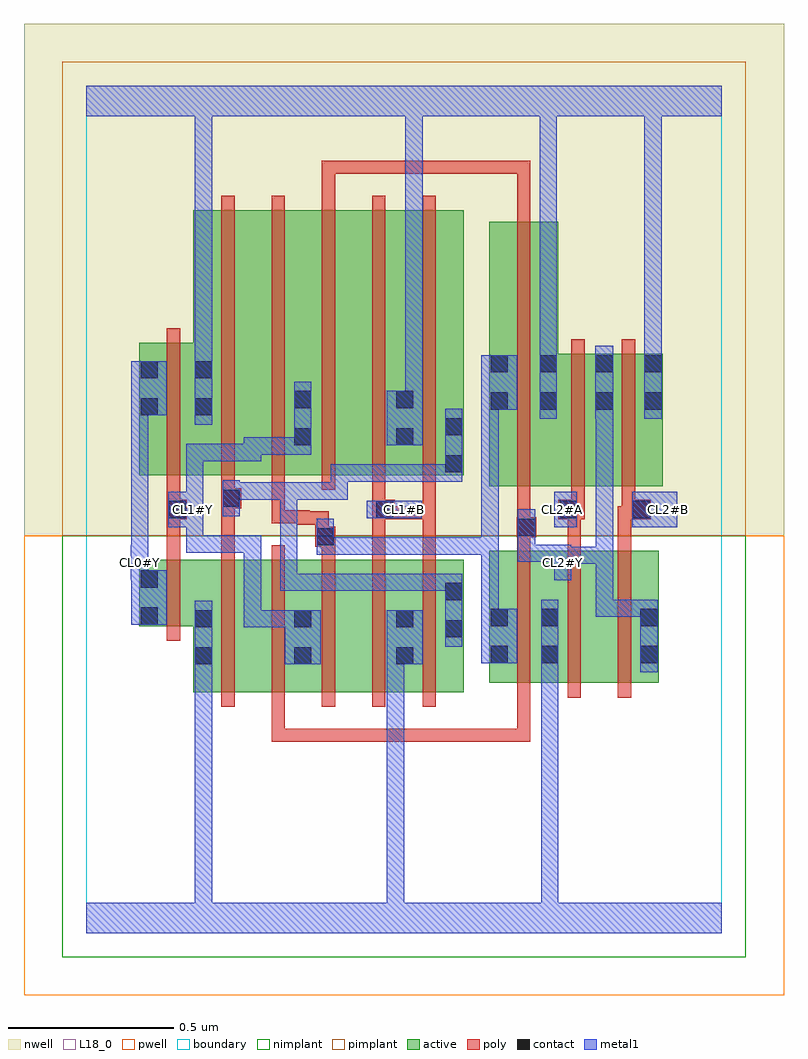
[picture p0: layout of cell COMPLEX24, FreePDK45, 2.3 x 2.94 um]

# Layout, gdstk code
import gdstk
lib = gdstk.Library(unit=1e-6, precision=1e-09)
def R(c, l, rs):  # rectangles x0, y0, x1, y1
    for r in rs: c.add(gdstk.rectangle(r[:2], r[2:], *l))
def A(c, l, x, y, w, h, nx, ny, dx, dy):  # array of equal rectangles
    R(c, l, [(x+i*dx, y+j*dy, x+i*dx+w, y+j*dy+h) for i in range(nx) for j in range(ny)])
active = (1, 0)
pwell = (2, 0)
nwell = (3, 0)
nimplant = (4, 0)
pimplant = (5, 0)
poly = (9, 0)
contact = (10, 0)
metal1 = (11, 0)
L18_0 = (18, 0)
boundary = (235, 0)

complex24 = lib.new_cell('COMPLEX24')
R(complex24, active, [(0.324,0.728,0.504,1.128), (0.504,0.728,0.684,1.128), (0.624,0.728,0.808,1.128), (0.808,0.728,0.992,1.128), (0.932,0.728,1.14,1.128), (0.624,0.756,0.684,0.98), (0.932,0.756,0.992,0.98), (1.08,0.756,1.14,1.128), (1.218,0.756,1.278,1.156), (1.218,0.756,1.43,1.156), (1.37,0.756,1.43,1.156), (1.37,0.756,1.55,1.156), (1.55,0.756,1.73,1.156), (1.67,0.756,1.73,1.156), (0.324,0.808,0.384,0.98), (0.16,0.928,0.384,1.128), (0.16,0.928,0.22,1.128), (1.218,1.35,1.426,2.15), (1.218,1.35,1.278,2.15), (1.366,1.35,1.594,1.75), (1.534,1.35,1.742,1.75), (1.682,1.35,1.742,1.75), (0.16,1.384,0.22,1.784), (0.16,1.384,0.384,1.784), (0.324,1.384,0.504,2.184), (0.504,1.384,0.684,2.184), (0.624,1.384,0.808,2.184), (0.808,1.384,0.992,2.184), (0.932,1.384,1.14,2.184), (1.08,1.384,1.14,2.044), (0.324,1.388,0.384,2.184), (0.624,1.47,0.684,2.044), (0.932,1.47,0.992,2.044), (1.366,1.578,1.426,1.75), (1.534,1.578,1.594,1.75)])
R(complex24, pwell, [(-0.188,-0.188,2.108,1.2)])
R(complex24, nwell, [(-0.188,1.2,2.108,2.748)])
R(complex24, nimplant, [(-0.072,-0.072,1.992,1.2)])
R(complex24, pimplant, [(-0.072,1.2,1.992,2.632)])
A(complex24, poly, 0.408, 0.684, 0.04, 0.488, 5, 1, 0.152, 0)
A(complex24, poly, 1.302, 0.712, 0.04, 0.488, 3, 1, 0.152, 0)
A(complex24, poly, 0.408, 1.34, 0.04, 0.888, 5, 1, 0.152, 0)
R(complex24, poly, [(0.56,0.578,0.6,0.618), (0.56,0.578,0.6,0.618), (0.56,0.578,0.6,0.618), (0.56,0.578,0.6,0.724), (0.56,0.578,0.798,0.618), (0.758,0.578,0.798,0.618), (0.758,0.578,0.798,0.618), (0.758,0.578,0.798,0.618), (0.758,0.578,0.932,0.618), (0.892,0.578,0.932,0.618), (0.892,0.578,0.932,0.618), (0.892,0.578,0.932,0.618), (0.892,0.578,1.038,0.618), (0.998,0.578,1.038,0.618), (0.998,0.578,1.038,0.618), (0.998,0.578,1.038,0.618), (0.998,0.578,1.342,0.618), (1.302,0.578,1.342,0.618), (1.302,0.578,1.342,0.618), (1.302,0.578,1.342,0.618), (1.302,0.578,1.342,0.752), (0.244,0.884,0.284,1.172), (0.244,1.132,0.284,1.29), (0.408,1.132,0.448,1.324), (0.712,1.132,0.752,1.208), (0.864,1.132,0.904,1.29), (1.016,1.132,1.056,1.29), (1.302,1.16,1.342,1.236), (1.454,1.16,1.494,1.29), (1.606,1.16,1.646,1.29), (0.692,1.168,0.752,1.228), (0.692,1.188,0.732,1.274), (1.3,1.196,1.36,1.256), (1.302,1.216,1.342,1.256), (1.302,1.216,1.342,1.256), (1.302,1.216,1.342,1.346), (0.636,1.234,0.732,1.274), (0.636,1.234,0.676,1.278), (0.692,1.234,0.732,1.274), (0.56,1.238,0.6,1.278), (0.56,1.238,0.676,1.278), (0.56,1.238,0.6,1.38), (0.244,1.25,0.304,1.31), (0.864,1.25,0.904,1.29), (0.864,1.25,0.904,1.29), (0.864,1.25,0.904,1.29), (0.864,1.25,0.904,1.29), (0.864,1.25,1.056,1.29), (0.864,1.25,0.932,1.31), (1.016,1.25,1.056,1.29), (1.016,1.25,1.056,1.29), (1.016,1.25,1.056,1.29), (1.016,1.25,1.056,1.38), (1.426,1.25,1.506,1.31), (1.454,1.25,1.494,1.29), (1.454,1.25,1.494,1.29), (1.606,1.25,1.658,1.29), (1.618,1.25,1.658,1.29), (1.618,1.25,1.706,1.31), (0.244,1.27,0.284,1.31), (0.244,1.27,0.284,1.31), (0.244,1.27,0.284,1.38), (0.864,1.27,0.904,1.38), (1.466,1.27,1.506,1.346), (1.618,1.27,1.658,1.346), (0.408,1.284,0.448,1.324), (0.408,1.284,0.448,1.324), (0.408,1.284,0.468,1.344), (0.408,1.304,0.448,1.38), (1.302,1.306,1.342,2.194), (1.466,1.306,1.506,1.794), (1.618,1.306,1.658,1.794), (0.244,1.34,0.284,1.828), (1.302,2.154,1.342,2.334), (0.712,2.188,0.752,2.334), (0.712,2.294,0.752,2.334), (0.712,2.294,0.782,2.334), (0.742,2.294,0.782,2.334), (0.742,2.294,0.932,2.334), (0.892,2.294,0.932,2.334), (0.892,2.294,0.932,2.334), (0.892,2.294,0.932,2.334), (0.892,2.294,1.038,2.334), (0.998,2.294,1.038,2.334), (0.998,2.294,1.038,2.334), (0.998,2.294,1.038,2.334), (0.998,2.294,1.342,2.334), (1.302,2.294,1.342,2.334), (1.302,2.294,1.342,2.334), (1.302,2.294,1.342,2.334)])
R(complex24, contact, [(0.328,0.812,0.38,0.864), (0.628,0.812,0.68,0.864), (0.936,0.812,0.988,0.864), (1.222,0.816,1.274,0.868), (1.374,0.816,1.426,0.868), (1.674,0.816,1.726,0.868), (1.084,0.894,1.136,0.946), (0.328,0.924,0.38,0.976), (0.628,0.924,0.68,0.976), (0.936,0.924,0.988,0.976), (1.222,0.928,1.274,0.98), (1.374,0.928,1.426,0.98), (1.674,0.928,1.726,0.98), (0.164,0.932,0.216,0.984), (1.084,1.006,1.136,1.058), (0.164,1.044,0.216,1.096), (0.696,1.172,0.748,1.224), (1.304,1.2,1.356,1.252), (0.248,1.254,0.3,1.306), (0.876,1.254,0.928,1.306), (1.43,1.254,1.482,1.306), (1.65,1.254,1.702,1.306), (0.412,1.288,0.464,1.34), (1.084,1.392,1.136,1.444), (0.628,1.474,0.68,1.526), (0.936,1.474,0.988,1.526), (1.084,1.504,1.136,1.556), (0.164,1.564,0.216,1.616), (0.328,1.564,0.38,1.616), (1.222,1.582,1.274,1.634), (1.37,1.582,1.422,1.634), (1.538,1.582,1.59,1.634), (1.686,1.582,1.738,1.634), (0.628,1.586,0.68,1.638), (0.936,1.586,0.988,1.638), (0.164,1.676,0.216,1.728), (0.328,1.676,0.38,1.728), (1.222,1.694,1.274,1.746), (1.37,1.694,1.422,1.746), (1.538,1.694,1.59,1.746), (1.686,1.694,1.738,1.746)])
R(complex24, metal1, [(0,0,1.92,0.092), (0.328,0.04,0.38,0.092), (0.328,0.04,0.38,0.092), (0.328,0.04,0.38,0.092), (0.328,0.04,0.38,0.092), (0.328,0.04,0.38,0.092), (0.328,0.04,0.38,0.092), (0.328,0.04,0.38,0.092), (0.328,0.04,0.38,0.092), (0.328,0.04,0.38,0.092), (0.328,0.04,0.38,0.092), (0.328,0.04,0.38,0.092), (0.328,0.04,0.38,0.092), (0.328,0.04,0.38,0.836), (0.908,0.04,0.96,0.092), (0.908,0.04,0.96,0.092), (0.908,0.04,0.96,0.092), (0.908,0.04,0.96,0.092), (0.908,0.04,0.96,0.092), (0.908,0.04,0.96,0.092), (0.908,0.04,0.96,0.092), (0.908,0.04,0.96,0.092), (0.908,0.04,0.96,0.092), (0.908,0.04,0.96,0.092), (0.908,0.04,0.96,0.092), (0.908,0.04,0.96,0.092), (0.908,0.04,0.96,0.864), (1.374,0.04,1.426,0.092), (1.374,0.04,1.426,0.092), (1.374,0.04,1.426,0.092), (1.374,0.04,1.426,0.092), (1.374,0.04,1.426,0.092), (1.374,0.04,1.426,0.092), (1.374,0.04,1.426,0.092), (1.374,0.04,1.426,0.092), (1.374,0.04,1.426,0.092), (1.374,0.04,1.426,0.092), (1.374,0.04,1.426,0.092), (1.374,0.04,1.426,0.092), (1.374,0.04,1.426,0.84), (0.328,0.784,0.38,1.004), (1.374,0.788,1.426,1.008), (1.674,0.788,1.726,1.008), (0.6,0.812,0.708,0.976), (0.908,0.812,1.016,0.976), (1.194,0.816,1.302,0.98), (1.084,0.866,1.136,1.086), (0.476,0.924,0.528,0.976), (0.476,0.924,0.528,0.976), (0.476,0.924,0.528,0.976), (0.476,0.924,0.638,0.976), (0.476,0.924,0.528,1.202), (0.586,0.924,0.638,0.976), (0.586,0.924,0.652,0.976), (1.194,0.928,1.246,1.196), (0.136,0.932,0.244,1.096), (1.54,0.956,1.592,1.008), (1.54,0.956,1.592,1.008), (1.54,0.956,1.592,1.008), (1.54,0.956,1.726,1.008), (1.54,0.956,1.592,1.168), (0.586,1.034,0.638,1.086), (0.586,1.034,0.638,1.086), (0.586,1.034,0.638,1.086), (0.586,1.034,0.748,1.086), (0.586,1.034,0.638,1.362), (0.696,1.034,0.748,1.086), (0.696,1.034,0.748,1.086), (0.696,1.034,0.748,1.086), (0.696,1.034,1.026,1.086), (0.974,1.034,1.026,1.086), (0.974,1.034,1.026,1.086), (0.974,1.034,1.026,1.086), (0.974,1.034,1.136,1.086), (1.084,1.034,1.136,1.086), (1.084,1.034,1.136,1.086), (0.136,1.044,0.188,1.118), (0.134,1.066,0.188,1.174), (1.414,1.066,1.466,1.174), (1.414,1.116,1.466,1.168), (1.414,1.116,1.466,1.168), (1.414,1.116,1.592,1.168), (1.54,1.116,1.592,1.168), (1.54,1.116,1.592,1.168), (1.54,1.116,1.592,1.168), (1.54,1.116,1.592,1.606), (0.136,1.122,0.188,1.174), (0.136,1.122,0.188,1.174), (0.136,1.122,0.188,1.616), (1.304,1.122,1.466,1.174), (1.304,1.122,1.356,1.28), (0.696,1.144,0.748,1.196), (0.696,1.144,0.748,1.196), (0.696,1.144,0.748,1.252), (0.696,1.144,0.9,1.196), (0.848,1.144,0.9,1.196), (0.848,1.144,0.9,1.196), (0.848,1.144,0.9,1.196), (0.848,1.144,1.136,1.196), (1.084,1.144,1.136,1.196), (1.084,1.144,1.246,1.196), (1.194,1.144,1.246,1.196), (1.194,1.144,1.246,1.196), (1.194,1.144,1.246,1.196), (1.194,1.144,1.246,1.634), (0.302,1.15,0.528,1.202), (0.302,1.15,0.354,1.278), (0.476,1.15,0.528,1.202), (0.476,1.15,0.528,1.202), (0.476,1.15,0.528,1.202), (0.248,1.226,0.346,1.334), (0.294,1.226,0.354,1.278), (0.302,1.226,0.354,1.278), (0.302,1.226,0.354,1.278), (0.302,1.226,0.354,1.478), (1.414,1.226,1.482,1.334), (1.65,1.226,1.786,1.334), (0.848,1.254,1.014,1.306), (0.412,1.26,0.464,1.368), (0.412,1.31,0.464,1.362), (0.412,1.31,0.464,1.362), (0.412,1.31,0.638,1.362), (0.586,1.31,0.638,1.362), (0.586,1.31,0.638,1.362), (0.586,1.31,0.638,1.362), (0.586,1.31,0.79,1.362), (0.738,1.31,0.79,1.362), (0.738,1.31,0.79,1.362), (0.738,1.31,0.79,1.362), (0.738,1.31,0.79,1.416), (0.738,1.364,0.79,1.416), (0.738,1.364,0.9,1.416), (0.848,1.364,0.9,1.416), (0.848,1.364,0.9,1.416), (0.848,1.364,0.9,1.416), (0.848,1.364,1.136,1.416), (1.084,1.364,1.136,1.416), (1.084,1.364,1.136,1.416), (1.084,1.364,1.136,1.584), (0.302,1.426,0.354,1.478), (0.302,1.426,0.528,1.478), (0.476,1.426,0.528,1.498), (0.476,1.446,0.528,1.498), (0.476,1.446,0.528,1.498), (0.476,1.446,0.638,1.498), (0.586,1.446,0.638,1.498), (0.586,1.446,0.68,1.498), (0.628,1.446,0.68,1.666), (0.908,1.474,1.016,1.638), (0.328,1.536,0.38,1.756), (1.37,1.554,1.422,1.774), (1.538,1.554,1.592,1.774), (1.686,1.554,1.738,1.774), (0.136,1.564,0.244,1.728), (1.194,1.582,1.246,1.634), (1.194,1.582,1.246,1.634), (1.194,1.582,1.302,1.746), (0.964,1.586,1.016,1.638), (0.964,1.586,1.016,1.638), (0.964,1.586,1.016,2.52), (0.328,1.704,0.38,2.52), (1.37,1.722,1.422,2.52), (1.686,1.722,1.738,2.52), (0,2.468,1.92,2.56), (0.328,2.468,0.38,2.52), (0.328,2.468,0.38,2.52), (0.328,2.468,0.38,2.52), (0.328,2.468,0.38,2.52), (0.328,2.468,0.38,2.52), (0.328,2.468,0.38,2.52), (0.328,2.468,0.38,2.52), (0.328,2.468,0.38,2.52), (0.964,2.468,1.016,2.52), (0.964,2.468,1.016,2.52), (0.964,2.468,1.016,2.52), (0.964,2.468,1.016,2.52), (0.964,2.468,1.016,2.52), (0.964,2.468,1.016,2.52), (1.37,2.468,1.422,2.52), (1.37,2.468,1.422,2.52), (1.37,2.468,1.422,2.52), (1.37,2.468,1.422,2.52), (1.37,2.468,1.422,2.52), (1.37,2.468,1.422,2.52), (1.37,2.468,1.422,2.52), (1.37,2.468,1.422,2.52), (1.686,2.468,1.738,2.52), (1.686,2.468,1.738,2.52), (1.686,2.468,1.738,2.52), (1.686,2.468,1.738,2.52), (1.686,2.468,1.738,2.52), (1.686,2.468,1.738,2.52), (1.686,2.468,1.738,2.52), (1.686,2.468,1.738,2.52), (1.686,2.468,1.738,2.52), (1.686,2.468,1.738,2.52), (1.686,2.468,1.738,2.52), (1.686,2.468,1.738,2.52), (1.686,2.468,1.738,2.52), (1.686,2.468,1.738,2.52), (1.686,2.468,1.738,2.52), (1.686,2.468,1.738,2.52)])
R(complex24, L18_0, [(0,0,1.92,0.092), (0.328,0.04,0.38,0.092), (0.328,0.04,0.38,0.092), (0.328,0.04,0.38,0.092), (0.328,0.04,0.38,0.092), (0.328,0.04,0.38,0.092), (0.328,0.04,0.38,0.092), (0.328,0.04,0.38,0.092), (0.328,0.04,0.38,0.092), (0.328,0.04,0.38,0.092), (0.328,0.04,0.38,0.092), (0.328,0.04,0.38,0.092), (0.328,0.04,0.38,0.092), (0.328,0.04,0.38,0.836), (0.908,0.04,0.96,0.092), (0.908,0.04,0.96,0.092), (0.908,0.04,0.96,0.092), (0.908,0.04,0.96,0.092), (0.908,0.04,0.96,0.092), (0.908,0.04,0.96,0.092), (0.908,0.04,0.96,0.092), (0.908,0.04,0.96,0.092), (0.908,0.04,0.96,0.092), (0.908,0.04,0.96,0.092), (0.908,0.04,0.96,0.092), (0.908,0.04,0.96,0.092), (0.908,0.04,0.96,0.864), (1.374,0.04,1.426,0.092), (1.374,0.04,1.426,0.092), (1.374,0.04,1.426,0.092), (1.374,0.04,1.426,0.092), (1.374,0.04,1.426,0.092), (1.374,0.04,1.426,0.092), (1.374,0.04,1.426,0.092), (1.374,0.04,1.426,0.092), (1.374,0.04,1.426,0.092), (1.374,0.04,1.426,0.092), (1.374,0.04,1.426,0.092), (1.374,0.04,1.426,0.092), (1.374,0.04,1.426,0.84), (0.328,0.784,0.38,1.004), (1.374,0.788,1.426,1.008), (1.674,0.788,1.726,1.008), (0.6,0.812,0.708,0.976), (0.908,0.812,1.016,0.976), (0.476,0.924,0.528,0.976), (0.476,0.924,0.528,0.976), (0.476,0.924,0.528,0.976), (0.476,0.924,0.528,1.202), (0.476,0.924,0.638,0.976), (0.586,0.924,0.638,0.976), (0.586,0.924,0.652,0.976), (0.136,0.932,0.244,1.096), (1.54,0.956,1.592,1.008), (1.54,0.956,1.592,1.008), (1.54,0.956,1.592,1.008), (1.54,0.956,1.592,1.168), (1.54,0.956,1.726,1.008), (0.136,1.044,0.188,1.118), (0.134,1.066,0.188,1.174), (1.414,1.066,1.466,1.174), (0.134,1.094,0.186,1.146), (1.414,1.094,1.466,1.146), (1.414,1.116,1.466,1.168), (1.414,1.116,1.466,1.168), (1.414,1.116,1.592,1.168), (1.54,1.116,1.592,1.168), (1.54,1.116,1.592,1.168), (1.54,1.116,1.592,1.168), (1.54,1.116,1.592,1.606), (0.136,1.122,0.188,1.174), (0.136,1.122,0.188,1.174), (0.136,1.122,0.188,1.616), (1.304,1.122,1.466,1.174), (1.304,1.122,1.356,1.28), (0.302,1.15,0.354,1.278), (0.302,1.15,0.528,1.202), (0.476,1.15,0.528,1.202), (0.476,1.15,0.528,1.202), (0.476,1.15,0.528,1.202), (0.248,1.226,0.346,1.334), (0.294,1.226,0.354,1.278), (0.302,1.226,0.354,1.278), (0.302,1.226,0.354,1.278), (0.302,1.226,0.354,1.478), (1.414,1.226,1.482,1.334), (1.65,1.226,1.786,1.334), (0.294,1.254,0.346,1.306), (0.848,1.254,1.014,1.306), (0.934,1.254,0.986,1.306), (1.414,1.254,1.466,1.306), (1.734,1.254,1.786,1.306), (0.302,1.426,0.354,1.478), (0.302,1.426,0.528,1.478), (0.476,1.426,0.528,1.498), (0.476,1.446,0.528,1.498), (0.476,1.446,0.528,1.498), (0.476,1.446,0.638,1.498), (0.586,1.446,0.638,1.498), (0.586,1.446,0.68,1.498), (0.628,1.446,0.68,1.666), (0.908,1.474,1.016,1.638), (0.328,1.536,0.38,1.756), (1.37,1.554,1.422,1.774), (1.538,1.554,1.592,1.774), (1.686,1.554,1.738,1.774), (0.136,1.564,0.244,1.728), (0.964,1.586,1.016,1.638), (0.964,1.586,1.016,1.638), (0.964,1.586,1.016,2.52), (0.328,1.704,0.38,2.52), (1.37,1.722,1.422,2.52), (1.686,1.722,1.738,2.52), (0,2.468,1.92,2.56), (0.328,2.468,0.38,2.52), (0.328,2.468,0.38,2.52), (0.328,2.468,0.38,2.52), (0.328,2.468,0.38,2.52), (0.328,2.468,0.38,2.52), (0.328,2.468,0.38,2.52), (0.328,2.468,0.38,2.52), (0.328,2.468,0.38,2.52), (0.964,2.468,1.016,2.52), (0.964,2.468,1.016,2.52), (0.964,2.468,1.016,2.52), (0.964,2.468,1.016,2.52), (0.964,2.468,1.016,2.52), (0.964,2.468,1.016,2.52), (1.37,2.468,1.422,2.52), (1.37,2.468,1.422,2.52), (1.37,2.468,1.422,2.52), (1.37,2.468,1.422,2.52), (1.37,2.468,1.422,2.52), (1.37,2.468,1.422,2.52), (1.37,2.468,1.422,2.52), (1.37,2.468,1.422,2.52), (1.686,2.468,1.738,2.52), (1.686,2.468,1.738,2.52), (1.686,2.468,1.738,2.52), (1.686,2.468,1.738,2.52), (1.686,2.468,1.738,2.52), (1.686,2.468,1.738,2.52), (1.686,2.468,1.738,2.52), (1.686,2.468,1.738,2.52), (1.686,2.468,1.738,2.52), (1.686,2.468,1.738,2.52), (1.686,2.468,1.738,2.52), (1.686,2.468,1.738,2.52), (1.686,2.468,1.738,2.52), (1.686,2.468,1.738,2.52), (1.686,2.468,1.738,2.52), (1.686,2.468,1.738,2.52)])
R(complex24, boundary, [(0,0,1.92,2.56)])
complex24.add(gdstk.Label('CL0#Y', (0.16,1.12), layer=11, texttype=0))
complex24.add(gdstk.Label('CL1#B', (0.96,1.28), layer=11, texttype=0))
complex24.add(gdstk.Label('CL1#Y', (0.32,1.28), layer=11, texttype=0))
complex24.add(gdstk.Label('CL2#A', (1.44,1.28), layer=11, texttype=0))
complex24.add(gdstk.Label('CL2#B', (1.76,1.28), layer=11, texttype=0))
complex24.add(gdstk.Label('CL2#Y', (1.44,1.12), layer=11, texttype=0))

lib.write_gds('COMPLEX24.gds')
